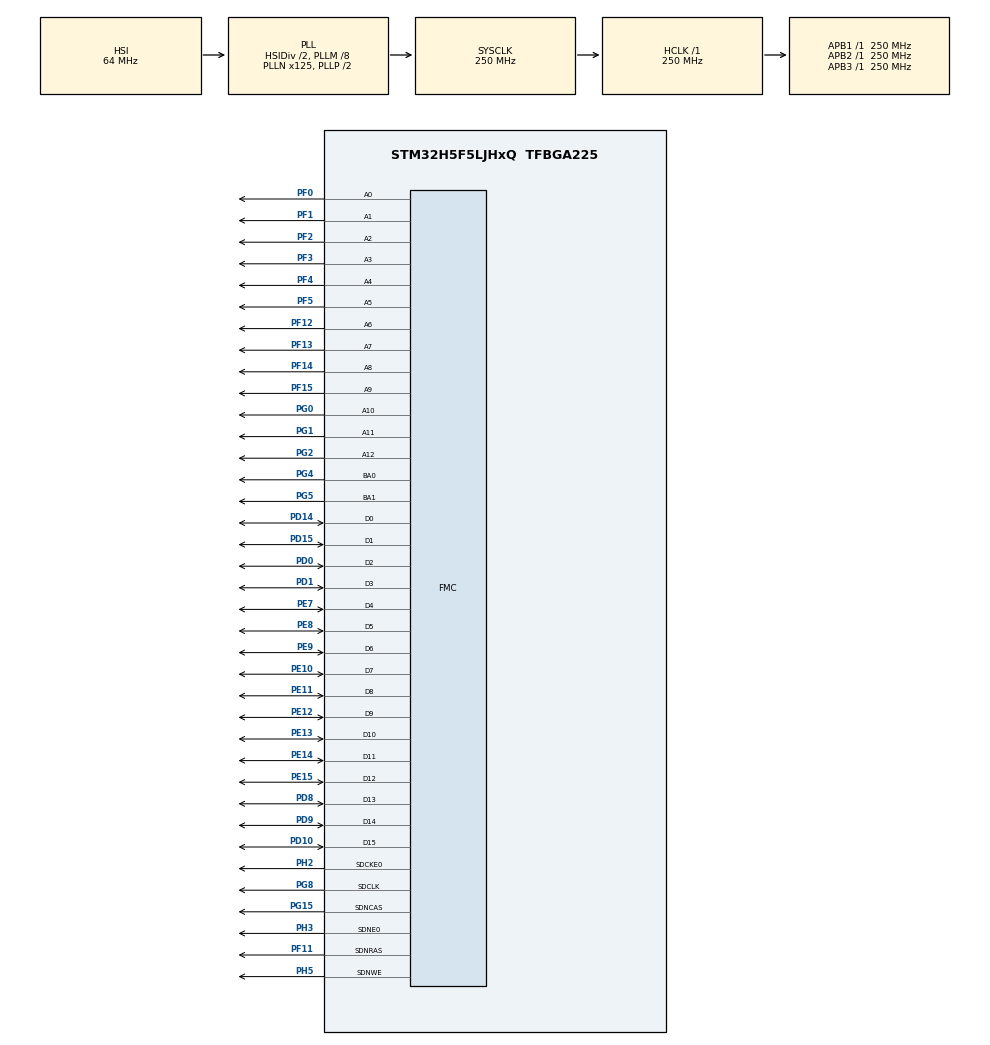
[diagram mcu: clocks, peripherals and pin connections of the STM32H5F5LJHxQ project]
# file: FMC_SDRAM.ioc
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CORTEX_M33_NS.userName=CORTEX_M33
FMC.CASLatency1=FMC_SDRAM_CAS_LATENCY_3
FMC.ColumnBitsNumber1=FMC_SDRAM_COLUMN_BITS_NUM_9
FMC.ExitSelfRefreshDelay1=7
FMC.LoadToActiveDelay1=2
FMC.RCDDelay1=2
FMC.RPDelay1=2
FMC.RowCycleDelay1=7
FMC.SDClockPeriod1=FMC_SDRAM_CLOCK_PERIOD_3
FMC.SelfRefreshTime1=4
FMC.WriteRecoveryTime1=3
Mcu.Family=STM32H5
Mcu.Name=STM32H5F5LJHxQ
Mcu.Package=TFBGA225
NVIC.PriorityGroup=NVIC_PRIORITYGROUP_4
PD0.Signal=FMC_D2_DA2
PD1.Signal=FMC_D3_DA3
PD10.Signal=FMC_D15_DA15
PD11.Signal=FMC_A16_CLE
PD12.Signal=FMC_A17_ALE
PD13.Signal=FMC_A18
PD14.Signal=FMC_D0_DA0
PD15.Signal=FMC_D1_DA1
PD3.Signal=FMC_CLK
PD8.Signal=FMC_D13_DA13
PD9.Signal=FMC_D14_DA14
PE0.Signal=FMC_NBL0
PE1.Signal=FMC_NBL1
PE10.Signal=FMC_D7_DA7
PE11.Signal=FMC_D8_DA8
PE12.Signal=FMC_D9_DA9
PE13.Signal=FMC_D10_DA10
PE14.Signal=FMC_D11_DA11
PE15.Signal=FMC_D12_DA12
PE2.Signal=FMC_A23
PE3.Signal=FMC_A19
PE4.Signal=FMC_A20
PE5.Signal=FMC_A21
PE6.Signal=FMC_A22
PE7.Signal=FMC_D4_DA4
PE8.Signal=FMC_D5_DA5
PE9.Signal=FMC_D6_DA6
PF0.Signal=FMC_A0
PF1.Signal=FMC_A1
PF11.Signal=FMC_SDNRAS
PF12.Signal=FMC_A6
PF13.Signal=FMC_A7
PF14.Signal=FMC_A8
PF15.Signal=FMC_A9
PF2.Signal=FMC_A2
PF3.Signal=FMC_A3
PF4.Signal=FMC_A4
PF5.Signal=FMC_A5
PG0.Signal=FMC_A10
PG1.Signal=FMC_A11
PG13.Signal=FMC_A24
PG14.Signal=FMC_A25
PG15.Signal=FMC_SDNCAS
PG2.Signal=FMC_A12
PG3.Signal=FMC_A13
PG4.Signal=FMC_A14_BA0
PG5.Signal=FMC_A15_BA1
PG8.Signal=FMC_SDCLK
PH0-OSC_IN(PH0).Mode=HSE-DIG-External-Clock-Source
PH0-OSC_IN(PH0).Signal=RCC_OSC_IN
PH2.Mode=SdramChipSelect1_1
PH2.Signal=FMC_SDCKE0
PH3.Mode=SdramChipSelect1_1
PH3.Signal=FMC_SDNE0
PH5.Signal=FMC_SDNWE
PH6.Signal=FMC_SDNE1
PH7.Signal=FMC_SDCKE1
ProjectManager.HeapSize=0x200
ProjectManager.StackSize=0x400
ProjectManager.TargetToolchain=EWARM V9.20
RCC.ADCFreq_Value=250000000
RCC.AHBFreq_Value=250000000
RCC.APB1Freq_Value=250000000
RCC.APB1TimFreq_Value=250000000
RCC.APB2Freq_Value=250000000
RCC.APB2TimFreq_Value=250000000
RCC.APB3Freq_Value=250000000
RCC.CSI_VALUE=4000000
RCC.CortexFreq_Value=250000000
RCC.EPOD_VALUE=32000000
RCC.HCLKFreq_Value=250000000
RCC.HSE_VALUE=25000000
RCC.HSI48_VALUE=48000000
RCC.HSI_VALUE=64000000
RCC.LSE_VALUE=32768
RCC.LSIRC_VALUE=32000
RCC.PLLM=8
RCC.PLLN=125
RCC.PLLSourceVirtual=RCC_PLL1_SOURCE_HSI
RCC.SYSCLKFreq_VALUE=250000000
RCC.SYSCLKSource=RCC_SYSCLKSOURCE_PLLCLK
RCC.USBFreq_Value=258000000
RCC.VCOOutputFreq_Value=500000000
SH.FMC_A0.0=FMC_A0,13b-sda1
SH.FMC_A1.0=FMC_A1,13b-sda1
SH.FMC_A10.0=FMC_A10,13b-sda1
SH.FMC_A11.0=FMC_A11,13b-sda1
SH.FMC_A12.0=FMC_A12,13b-sda1
SH.FMC_A13.0=FMC_A13
SH.FMC_A14_BA0.0=FMC_BA0,FourSdramBanks1
SH.FMC_A15_BA1.0=FMC_BA1,FourSdramBanks1
SH.FMC_A16_CLE.0=FMC_A16
SH.FMC_A17_ALE.0=FMC_A17
SH.FMC_A18.0=FMC_A18
SH.FMC_A19.0=FMC_A19
SH.FMC_A2.0=FMC_A2,13b-sda1
SH.FMC_A20.0=FMC_A20
SH.FMC_A21.0=FMC_A21
SH.FMC_A22.0=FMC_A22
SH.FMC_A23.0=FMC_A23
SH.FMC_A24.0=FMC_A24
SH.FMC_A25.0=FMC_A25
SH.FMC_A3.0=FMC_A3,13b-sda1
SH.FMC_A4.0=FMC_A4,13b-sda1
SH.FMC_A5.0=FMC_A5,13b-sda1
SH.FMC_A6.0=FMC_A6,13b-sda1
SH.FMC_A7.0=FMC_A7,13b-sda1
SH.FMC_A8.0=FMC_A8,13b-sda1
SH.FMC_A9.0=FMC_A9,13b-sda1
SH.FMC_CLK.0=FMC_CLK
SH.FMC_D0_DA0.0=FMC_D0,sd-16b-d1
SH.FMC_D10_DA10.0=FMC_D10,sd-16b-d1
SH.FMC_D11_DA11.0=FMC_D11,sd-16b-d1
SH.FMC_D12_DA12.0=FMC_D12,sd-16b-d1
SH.FMC_D13_DA13.0=FMC_D13,sd-16b-d1
SH.FMC_D14_DA14.0=FMC_D14,sd-16b-d1
SH.FMC_D15_DA15.0=FMC_D15,sd-16b-d1
SH.FMC_D1_DA1.0=FMC_D1,sd-16b-d1
SH.FMC_D2_DA2.0=FMC_D2,sd-16b-d1
SH.FMC_D3_DA3.0=FMC_D3,sd-16b-d1
SH.FMC_D4_DA4.0=FMC_D4,sd-16b-d1
SH.FMC_D5_DA5.0=FMC_D5,sd-16b-d1
SH.FMC_D6_DA6.0=FMC_D6,sd-16b-d1
SH.FMC_D7_DA7.0=FMC_D7,sd-16b-d1
SH.FMC_D8_DA8.0=FMC_D8,sd-16b-d1
SH.FMC_D9_DA9.0=FMC_D9,sd-16b-d1
SH.FMC_NBL0.0=FMC_NBL0
SH.FMC_NBL1.0=FMC_NBL1
SH.FMC_SDCLK.0=FMC_SDCLK,13b-sda1
SH.FMC_SDNCAS.0=FMC_SDNCAS,13b-sda1
SH.FMC_SDNRAS.0=FMC_SDNRAS,13b-sda1
SH.FMC_SDNWE.0=FMC_SDNWE,13b-sda1
VP_CORTEX_M33_NS_VS_Hclk.Mode=Hclk_Mode
VP_ICACHE_VS_ICACHE.Mode=DefaultMode
VP_PWR_VS_DBSignals.Mode=DisableDeadBatterySignals
VP_PWR_VS_LPOM.Mode=PowerOptimisation
VP_PWR_VS_SECSignals.Mode=Security/Privilege
board=custom

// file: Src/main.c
/* USER CODE BEGIN Header */
/**
  ******************************************************************************
  * @file    FMC/FMC_SDRAM/Src/main.c
  * @brief   This sample code shows how to configure the FMC controller to access
  *          the SDRAM memory.
  ******************************************************************************
   * @attention
  *
  * Copyright (c) 2025 STMicroelectronics.
  * All rights reserved.
  *
  * This software is licensed under terms that can be found in the LICENSE file
  * in the root directory of this software component.
  * If no LICENSE file comes with this software, it is provided AS-IS.
  *
  *
  *
  ******************************************************************************
  */
/* USER CODE END Header */
#include "main.h"

SDRAM_HandleTypeDef hsdram1;

/* USER CODE BEGIN PV */
FMC_SDRAM_CommandTypeDef command;

/* Read/Write Buffers */
uint16_t aTxBuffer[BUFFER_SIZE];
uint16_t aRxBuffer[BUFFER_SIZE];

/* Counter index */
uint32_t uwIndex = 0;
/* USER CODE END PV */

void SystemClock_Config(void);
static void MX_GPIO_Init(void);
static void MX_FMC_Init(void);
static void MX_ICACHE_Init(void);
/* USER CODE BEGIN PFP */
/* Private function prototypes -----------------------------------------------*/
static void SDRAM_Initialization_Sequence(SDRAM_HandleTypeDef *hsdram, FMC_SDRAM_CommandTypeDef *Command);
static void Fill_Buffer(uint16_t *pBuffer, uint32_t uwBufferLength, uint16_t uwOffset);
static TestStatus Buffercmp(uint16_t *pBuffer1, uint16_t *pBuffer2, uint16_t BufferLength);
/* USER CODE END PFP */

int main(void)
{

  /* USER CODE BEGIN 1 */
  /* STM32H5xx HAL library initialization:
       - Systick timer is configured by default as source of time base, but user
             can eventually implement his proper time base source (a general purpose
             timer for example or other time source), keeping in mind that Time base
             duration should be kept 1ms since PPP_TIMEOUT_VALUEs are defined and
             handled in milliseconds basis.
       - Set NVIC Group Priority to 4
       - Low Level Initialization
     */
  /* USER CODE END 1 */

  /* MCU Configuration--------------------------------------------------------*/

  /* Reset of all peripherals, Initializes the Flash interface and the Systick. */
  HAL_Init();

  /* Configure the system clock */
  SystemClock_Config();

  /* Initialize all configured peripherals */
  MX_GPIO_Init();
  MX_FMC_Init();
  MX_ICACHE_Init();
  /* USER CODE BEGIN 2 */

  /*##-1- Configure the SDRAM device #########################################*/

  /* Program the SDRAM external device */
  SDRAM_Initialization_Sequence(&hsdram1, &command);

  /*##-2- SDRAM memory read/write access #####################################*/

  /* Fill the buffer to write */
  Fill_Buffer(aTxBuffer, BUFFER_SIZE, 0xC20F);

  /* Write data to the SDRAM memory */
  HAL_SDRAM_Write_16b(&hsdram1, (uint32_t *)(SDRAM_BANK_ADDR + WRITE_READ_ADDR), aTxBuffer, BUFFER_SIZE);

  /* Read back data from the SDRAM memory */
  HAL_SDRAM_Read_16b(&hsdram1, (uint32_t *)(SDRAM_BANK_ADDR + WRITE_READ_ADDR), aRxBuffer, BUFFER_SIZE);

  /*##-3- Checking data integrity ############################################*/

  if (Buffercmp(aTxBuffer, aRxBuffer, BUFFER_SIZE) != PASSED)
  {
    /* KO */
    Error_Handler();
  }
  else
  {
    /* OK */
  }

  /* USER CODE END 2 */

  /* Infinite loop */
  while (1)
  {

  }
}

void SystemClock_Config(void)
{
  RCC_OscInitTypeDef RCC_OscInitStruct = {0};
  RCC_ClkInitTypeDef RCC_ClkInitStruct = {0};

  /** Configure the main internal regulator output voltage
  */
  __HAL_PWR_VOLTAGESCALING_CONFIG(PWR_REGULATOR_VOLTAGE_SCALE0);

  while(!__HAL_PWR_GET_FLAG(PWR_FLAG_VOSRDY)) {}

  /** Initializes the RCC Oscillators according to the specified parameters
  * in the RCC_OscInitTypeDef structure.
  */
  RCC_OscInitStruct.OscillatorType = RCC_OSCILLATORTYPE_HSI;
  RCC_OscInitStruct.HSIState = RCC_HSI_ON;
  RCC_OscInitStruct.HSIDiv = RCC_HSI_DIV2;
  RCC_OscInitStruct.HSICalibrationValue = RCC_HSICALIBRATION_DEFAULT;
  RCC_OscInitStruct.PLL.PLLState = RCC_PLL_ON;
  RCC_OscInitStruct.PLL.PLLSource = RCC_PLL1_SOURCE_HSI;
  RCC_OscInitStruct.PLL.PLLM = 8;
  RCC_OscInitStruct.PLL.PLLN = 125;
  RCC_OscInitStruct.PLL.PLLP = 2;
  RCC_OscInitStruct.PLL.PLLQ = 2;
  RCC_OscInitStruct.PLL.PLLR = 2;
  RCC_OscInitStruct.PLL.PLLRGE = RCC_PLL1_VCIRANGE_2;
  RCC_OscInitStruct.PLL.PLLVCOSEL = RCC_PLL1_VCORANGE_WIDE;
  RCC_OscInitStruct.PLL.PLLFRACN = 0;
  if (HAL_RCC_OscConfig(&RCC_OscInitStruct) != HAL_OK)
  {
    Error_Handler();
  }

  /** Initializes the CPU, AHB and APB buses clocks
  */
  RCC_ClkInitStruct.ClockType = RCC_CLOCKTYPE_HCLK|RCC_CLOCKTYPE_SYSCLK
                              |RCC_CLOCKTYPE_PCLK1|RCC_CLOCKTYPE_PCLK2
                              |RCC_CLOCKTYPE_PCLK3;
  RCC_ClkInitStruct.SYSCLKSource = RCC_SYSCLKSOURCE_PLLCLK;
  RCC_ClkInitStruct.AHBCLKDivider = RCC_SYSCLK_DIV1;
  RCC_ClkInitStruct.APB1CLKDivider = RCC_HCLK_DIV1;
  RCC_ClkInitStruct.APB2CLKDivider = RCC_HCLK_DIV1;
  RCC_ClkInitStruct.APB3CLKDivider = RCC_HCLK_DIV1;

  if (HAL_RCC_ClockConfig(&RCC_ClkInitStruct, FLASH_LATENCY_5) != HAL_OK)
  {
    Error_Handler();
  }

  /** Configure the programming delay
  */
  __HAL_FLASH_SET_PROGRAM_DELAY(FLASH_PROGRAMMING_DELAY_2);
}

static void MX_ICACHE_Init(void)
{

  /** Enable instruction cache (default 2-ways set associative cache)
  */
  if (HAL_ICACHE_Enable() != HAL_OK)
  {
    Error_Handler();
  }

}

/* FMC initialization function */
static void MX_FMC_Init(void)
{

  FMC_SDRAM_TimingTypeDef SdramTiming = {0};

  /** Perform the SDRAM1 memory initialization sequence
  */
  hsdram1.Instance = FMC_SDRAM_DEVICE;
  /* hsdram1.Init */
  hsdram1.Init.SDBank = FMC_SDRAM_BANK1;
  hsdram1.Init.ColumnBitsNumber = FMC_SDRAM_COLUMN_BITS_NUM_9;
  hsdram1.Init.RowBitsNumber = FMC_SDRAM_ROW_BITS_NUM_13;
  hsdram1.Init.MemoryDataWidth = FMC_SDRAM_MEM_BUS_WIDTH_16;
  hsdram1.Init.InternalBankNumber = FMC_SDRAM_INTERN_BANKS_NUM_4;
  hsdram1.Init.CASLatency = FMC_SDRAM_CAS_LATENCY_3;
  hsdram1.Init.WriteProtection = FMC_SDRAM_WRITE_PROTECTION_DISABLE;
  hsdram1.Init.SDClockPeriod = FMC_SDRAM_CLOCK_PERIOD_3;
  hsdram1.Init.ReadBurst = FMC_SDRAM_RBURST_DISABLE;
  hsdram1.Init.ReadPipeDelay = FMC_SDRAM_RPIPE_DELAY_0;
  /* SdramTiming */
  SdramTiming.LoadToActiveDelay = 2;
  SdramTiming.ExitSelfRefreshDelay = 7;
  SdramTiming.SelfRefreshTime = 4;
  SdramTiming.RowCycleDelay = 7;
  SdramTiming.WriteRecoveryTime = 3;
  SdramTiming.RPDelay = 2;
  SdramTiming.RCDDelay = 2;

  if (HAL_SDRAM_Init(&hsdram1, &SdramTiming) != HAL_OK)
  {
    Error_Handler( );
  }

}

static void MX_GPIO_Init(void)
{

  /* GPIO Ports Clock Enable */
  __HAL_RCC_GPIOH_CLK_ENABLE();

}

/* USER CODE BEGIN 4 */
/**
  * @brief  Perform the SDRAM exernal memory inialization sequence
  * @param  hsdram: SDRAM handle
  * @param  Command: Pointer to SDRAM command structure
  * @retval None
  */
static void SDRAM_Initialization_Sequence(SDRAM_HandleTypeDef *hsdram, FMC_SDRAM_CommandTypeDef *Command)
{
  __IO uint32_t tmpmrd =0;
  uint32_t commandtarget = 0;

  commandtarget = FMC_SDRAM_CMD_TARGET_BANK1;

  /* Step 1:  Configure a clock configuration enable command */
  Command->CommandMode = FMC_SDRAM_CMD_CLK_ENABLE;
  Command->CommandTarget = commandtarget;
  Command->AutoRefreshNumber = 1;
  Command->ModeRegisterDefinition = 0;

  /* Send the command */
  HAL_SDRAM_SendCommand(hsdram, Command, SDRAM_TIMEOUT);

  /* Step 2: Insert 10 ms delay */
  HAL_Delay(10);

  /* Step 3: Configure a PALL (precharge all) command */
  Command->CommandMode = FMC_SDRAM_CMD_PALL;
  Command->CommandTarget = commandtarget;
  Command->AutoRefreshNumber = 1;
  Command->ModeRegisterDefinition = 0;

  /* Send the command */
  HAL_SDRAM_SendCommand(hsdram, Command, SDRAM_TIMEOUT);

  /* Step 4: Configure a Auto-Refresh command */
  Command->CommandMode = FMC_SDRAM_CMD_AUTOREFRESH_MODE;
  Command->CommandTarget = commandtarget;
  Command->AutoRefreshNumber = 8;
  Command->ModeRegisterDefinition = 0;

  /* Send the command */
  HAL_SDRAM_SendCommand(hsdram, Command, SDRAM_TIMEOUT);

  /* Step 5: Program the external memory mode register */
  tmpmrd = (uint32_t)SDRAM_MODEREG_BURST_LENGTH_1          |
                     SDRAM_MODEREG_BURST_TYPE_SEQUENTIAL   |
                     SDRAM_MODEREG_CAS_LATENCY_2           |
                     SDRAM_MODEREG_OPERATING_MODE_STANDARD |
                     SDRAM_MODEREG_WRITEBURST_MODE_SINGLE;

  Command->CommandMode = FMC_SDRAM_CMD_LOAD_MODE;
  Command->CommandTarget = commandtarget;
  Command->AutoRefreshNumber = 1;
  Command->ModeRegisterDefinition = tmpmrd;

  /* Send the command */
  HAL_SDRAM_SendCommand(hsdram, Command, SDRAM_TIMEOUT);

  /* Step 6: Set the refresh rate counter, in number of SDCLK clock cycles between the refresh cycles */
  /* Refresh rate = (COUNT + 1) x SDRAM clock frequency
      COUNT = (SDRAM refresh period / nbr of rows) - 20
      SDRAM MT48LC16M16A2 Refresh Period is 64ms
      Count  = ( 64 /  8196 ) - 20 = 7.81 microsecond
      Refresh rate = 7.81 * (40 / 2) = 156,2 */
  HAL_SDRAM_ProgramRefreshRate(hsdram, 156);
}

/**
  * @brief  Fills buffer with user predefined data.
  * @param  pBuffer: pointer on the buffer to fill
  * @param  uwBufferLength: size of the buffer to fill
  * @param  uwOffset: first value to fill on the buffer
  * @retval None
  */
static void Fill_Buffer(uint16_t *pBuffer, uint32_t uwBufferLength, uint16_t uwOffset)
{
  uint16_t tmpIndex = 0;

  /* Put in global buffer different values */
  for (tmpIndex = 0; tmpIndex < uwBufferLength; tmpIndex++)
  {
    pBuffer[tmpIndex] = tmpIndex + uwOffset;
  }
}

/**
  * @brief  Compares two buffers.
  * @param  pBuffer1, pBuffer2: buffers to be compared.
  * @param  BufferLength: buffer's length
  * @retval PASSED: pBuffer identical to pBuffer1
  *         FAILED: pBuffer differs from pBuffer1
  */
static TestStatus Buffercmp(uint16_t *pBuffer1, uint16_t *pBuffer2, uint16_t BufferLength)
{
  while (BufferLength--)
  {
    if (*pBuffer1 != *pBuffer2)
    {
      return FAILED;
    }

    pBuffer1++;
    pBuffer2++;
  }

  return PASSED;
}
/* USER CODE END 4 */

void Error_Handler(void)
{
  while(1)
  {
  }
}
